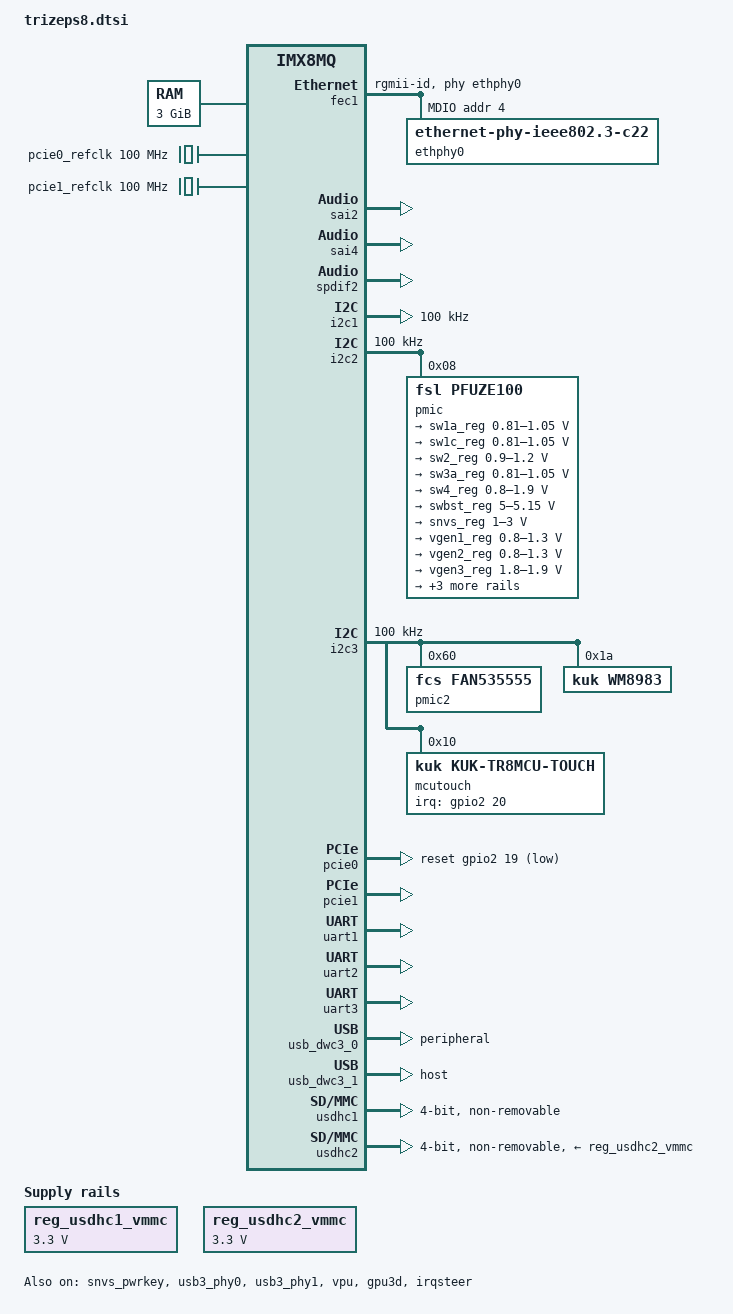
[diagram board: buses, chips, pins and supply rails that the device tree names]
/*
 * Copyright 2020 Keith & Koep GmbH
 */

#include "imx8mq.dtsi"
#include "trizeps8-pinfunc.h"

#define TRIZEPS_HOGGRP_COMMON	SPIN87_GPIO  PAD_GPIO_PU   /* nRESET_OUT  SODIMM Pin 87  */

/ {
	firmware {
		android {
			compatible = "android,firmware";
			/* default emmc node used for GSI */
			boot_devices = "soc@0/soc@0:bus@30800000/30b40000.mmc";
			/* sd card node which used if androidboot.boot_device_root=mmcblk1 */
			boot_devices_mmcblk1 = "soc@0/soc@0:bus@30800000/30b50000.mmc";
			/* emmc node which used if androidboot.boot_device_root=mmcblk0 */
			boot_devices_mmcblk0 = "soc@0/soc@0:bus@30800000/30b40000.mmc";
			fstab {
				compatible = "android,fstab";
				system {
					compatible = "android,system";
					dev = "system";
					type = "ext4";
					mnt_flags = "noatime,errors=panic,ro,barrier=1,inode_readahead_blks=8";
					fsmgr_flags = "wait,slotselect,avb,avb_keys=/avb/q-gsi.avbpubkey:/avb/r-gsi.avbpubkey:/avb/s-gsi.avbpubkey,logical,first_stage_mount";
				};
				vendor {
					compatible = "android,vendor";
					dev = "vendor";
					type = "ext4";
					mnt_flags = "noatime,errors=panic,ro,barrier=1,inode_readahead_blks=8";
					fsmgr_flags = "wait,slotselect,avb,logical,first_stage_mount";
				};
				product {
					compatible = "android,product";
					dev = "product";
					type = "ext4";
					mnt_flags = "noatime,errors=panic,ro,barrier=1,inode_readahead_blks=8";
					fsmgr_flags = "wait,slotselect,avb,logical,first_stage_mount";
				};
			};
			vbmeta {
				/*we need use FirstStageMountVBootV2 if we enable avb*/
				compatible = "android,vbmeta";
				/*parts means the partition witch can be mount in first stage*/
				parts = "vbmeta,dtbo,boot,system,vendor,product";
			};
		};
	};
};

/ {
	trusty {
		compatible = "android,trusty-smc-v1";
		ranges;
		#address-cells = <2>;
		#size-cells = <2>;
		use-gicv3-workaround;
		trusty-irq {
			use-gicv3-workaround;
			compatible = "android,trusty-irq-v1";
			interrupt-templates = <&trusty_ipi 0>;
			interrupt-ranges = < 0 15 0>;
		};
		trusty-virtio {
			compatible = "android,trusty-virtio-v1";
		};
		trusty-log {
			compatible = "android,trusty-log-v1";
		};
	};
	trusty_ipi: interrupt-controller@0 {
		compatible = "android,CustomIPI";
		interrupt-controller;
		#interrupt-cells = <1>;
	};
};

/ {

	memory@40000000 {
		device_type = "memory";
		reg = <0x00000000 0x40000000 0 0xc0000000>;
	};

	reserved-memory {
		#address-cells = <2>;
		#size-cells = <2>;
		ranges;

		rpmsg_reserved: rpmsg@0xb8000000 {
			no-map;
			reg = <0 0xb8000000 0 0x400000>;
		};
	};

	resmem: reserved-memory {
		#address-cells = <2>;
		#size-cells = <2>;
		ranges;

		/* global autoconfigured region for contiguous allocations */
		linux,cma {
			compatible = "shared-dma-pool";
			reusable;
			size = <0 0x3c000000>;
			alloc-ranges = <0 0x40000000 0 0x40000000>;
			linux,cma-default;
		};
	};

	pcie0_refclk: pcie0-refclk {
		compatible = "fixed-clock";
		#clock-cells = <0>;
		clock-frequency = <100000000>;
	};

	pcie1_refclk: pcie0-refclk {
		compatible = "fixed-clock";
		#clock-cells = <0>;
		clock-frequency = <100000000>;
	};

	reg_usdhc1_vmmc: usdhc1_vmmc {
		compatible = "regulator-fixed";
		regulator-name = "VMMC_USDHC1";
		regulator-min-microvolt = <3300000>;
		regulator-max-microvolt = <3300000>;
		enable-active-high;
	};

	reg_usdhc2_vmmc: regulator-usdhc2 {
		compatible = "regulator-fixed";
		regulator-name = "VMMC_USDHC2";
		regulator-min-microvolt = <3300000>;
		regulator-max-microvolt = <3300000>;
		enable-active-high;
	};

	sound-wm8983 {
		compatible = "kuk,imx-audio-wm8983";
		model = "wm8983-audio";
		audio-cpu = <&sai2>;
		audio-codec = <&wm8983>;
		audio-routing =
			"Headphone Jack", "HPL",
			"Headphone Jack", "HPR",
			"Headphone Jack", "OUT4",
			"Speaker", "SPKL",
			"Speaker", "SPKR",
			"LineIn Jack", "L2",
			"LineIn Jack", "R2",
			"Microphone", "LIP",
			"Microphone", "LIN",
			"Microphone", "MICBIAS";
		codec-master;
	};

	sound-hdmi {
		compatible = "fsl,imx8mq-evk-cdnhdmi",
				"fsl,imx-audio-cdnhdmi";
		model = "imx-audio-hdmi";
		audio-cpu = <&sai4>;
		protocol = <1>;
		hdmi-out;
		constraint-rate = <44100>,
				<88200>,
				<176400>,
				<32000>,
				<48000>,
				<96000>,
				<192000>;
	};

	sound-spdif {
		compatible = "fsl,imx-audio-spdif";
		model = "imx-spdif";
		spdif-controller = <&spdif1>;
		spdif-out;
		spdif-in;
	};

	sound-hdmi-arc {
		compatible = "fsl,imx-audio-spdif";
		model = "imx-hdmi-arc";
		spdif-controller = <&spdif2>;
		spdif-in;
	};    

	backlight: backlight {
		compatible = "pwm-backlight";
		pwms = <&pwm1 0 100000 0>;

		brightness-levels = < 0  1  2  3  4  5  6  7  8  9
				     10 11 12 13 14 15 16 17 18 19
				     20 21 22 23 24 25 26 27 28 29
				     30 31 32 33 34 35 36 37 38 39
				     40 41 42 43 44 45 46 47 48 49
				     50 51 52 53 54 55 56 57 58 59
				     60 61 62 63 64 65 66 67 68 69
				     70 71 72 73 74 75 76 77 78 79
				     80 81 82 83 84 85 86 87 88 89
				     90 91 92 93 94 95 96 97 98 99
				    100>;
		default-brightness-level = <80>;
		status = "disabled";
 	};
};

&A53_0 {
	cpu-supply = <&sw1a_reg>;
};

&A53_1 {
	cpu-supply = <&sw1a_reg>;
};

&A53_2 {
	cpu-supply = <&sw1a_reg>;
};

&A53_3 {
	cpu-supply = <&sw1a_reg>;
};

&fec1 {
	pinctrl-names = "default";
	pinctrl-0 = <&pinctrl_fec1>;
	phy-mode = "rgmii-id";
	phy-handle = <&ethphy0>;
	fsl,magic-packet;
	status = "okay";

	mdio {
		#address-cells = <1>;
		#size-cells = <0>;

		ethphy0: ethernet-phy@0 {
			compatible = "ethernet-phy-ieee802.3-c22";
			reg = <4>;
			at803x,eee-disabled;
			at803x,vddio-1p8v;            
#if defined(ETHERNET_ONLY_100MBIT) && (ETHERNET_ONLY_100MBIT==1)
			at803x,100MBit;
#endif              
		};
	};
};

&sai2 {
	pinctrl-names = "default";
	pinctrl-0 = <&pinctrl_sai2>;
	assigned-clocks = <&clk IMX8MQ_CLK_SAI2>;
	assigned-clock-parents = <&clk IMX8MQ_AUDIO_PLL1_OUT>;
	assigned-clock-rates = <24576000>;
	status = "okay";
};

&sai4 {
	assigned-clocks = <&clk IMX8MQ_CLK_SAI4>;
	assigned-clock-parents = <&clk IMX8MQ_AUDIO_PLL1_OUT>;
	assigned-clock-rates = <24576000>;
	clocks = <&clk IMX8MQ_CLK_SAI4_IPG>, <&clk IMX8MQ_CLK_DUMMY>,
		<&clk IMX8MQ_CLK_SAI4_ROOT>, <&clk IMX8MQ_CLK_DUMMY>,
		<&clk IMX8MQ_CLK_DUMMY>, <&clk IMX8MQ_AUDIO_PLL1_OUT>,
		<&clk IMX8MQ_AUDIO_PLL2_OUT>;
	clock-names = "bus", "mclk0", "mclk1", "mclk2", "mclk3", "pll8k", "pll11k";
	status = "okay";
};

&spdif1 {
	assigned-clocks = <&clk IMX8MQ_CLK_SPDIF1>;
	assigned-clock-parents = <&clk IMX8MQ_AUDIO_PLL1_OUT>;
	assigned-clock-rates = <24576000>;
	clocks = <&clk IMX8MQ_CLK_IPG_ROOT>, <&clk IMX8MQ_CLK_25M>,
		<&clk IMX8MQ_CLK_SPDIF1>, <&clk IMX8MQ_CLK_DUMMY>,
		<&clk IMX8MQ_CLK_DUMMY>, <&clk IMX8MQ_CLK_DUMMY>,
		<&clk IMX8MQ_CLK_IPG_ROOT>, <&clk IMX8MQ_CLK_DUMMY>,
		<&clk IMX8MQ_CLK_DUMMY>, <&clk IMX8MQ_CLK_DUMMY>,
		<&clk IMX8MQ_AUDIO_PLL1_OUT>, <&clk IMX8MQ_AUDIO_PLL2_OUT>;
	clock-names = "core", "rxtx0", "rxtx1", "rxtx2", "rxtx3", "rxtx4",
		      "rxtx5", "rxtx6", "rxtx7", "spba", "pll8k", "pll11k";
	status = "disabled";
};

&spdif2 {
	assigned-clocks = <&clk IMX8MQ_CLK_SPDIF2>;
	assigned-clock-parents = <&clk IMX8MQ_AUDIO_PLL1_OUT>;
	assigned-clock-rates = <24576000>;
	status = "okay";
};

&i2c1 {	/* Secondary I2C on SODIMM 94,96 */
	clock-frequency = <100000>;
	pinctrl-names = "default";
	pinctrl-0 = <&pinctrl_i2c1>;
	status = "okay";
};

&i2c2 {	/* Primary I2C on SODIMM 194,196 */
	clock-frequency = <100000>;
	pinctrl-names = "default";
	pinctrl-0 = <&pinctrl_i2c2>;
	status = "okay";

	pmic: pfuze100@8 {
		compatible = "fsl,pfuze100";
		reg = <0x08>;

		regulators {
			sw1a_reg: sw1ab {	/* VDD_ARM 0V9/1V0 */
				regulator-min-microvolt = <810000>;
				regulator-max-microvolt = <1050000>;
			};

			sw1c_reg: sw1c {	/* VDD_GPU 0V9/1V0 */
				regulator-min-microvolt = <810000>;
				regulator-max-microvolt = <1050000>;
			};

			sw2_reg: sw2 {	/* NVCC_DRAM 1V1 */
				regulator-min-microvolt = <900000>;
				regulator-max-microvolt = <1200000>;
				regulator-always-on;
			};

			sw3a_reg: sw3ab {	/* VDD_DRAM 0V9/1V0 */
				regulator-min-microvolt = <810000>;
				regulator-max-microvolt = <1050000>;
				regulator-always-on;
			};

			sw4_reg: sw4 { /* +1V8 LVDS,FPGA */
				regulator-min-microvolt = <800000>;
				regulator-max-microvolt = <1900000>;
				regulator-always-on;
			};

			swbst_reg: swbst {	/* +5V */
				regulator-min-microvolt = <5000000>;
				regulator-max-microvolt = <5150000>;
			};

			snvs_reg: vsnvs {	/* not connected */
				regulator-min-microvolt = <1000000>;
				regulator-max-microvolt = <3000000>;
				regulator-always-on;
			};

			vref_reg: vrefddr {
				regulator-always-on;
			};

			vgen1_reg: vgen1 {	/* VDD_FPGA_CORE +1V2, connected with vgen2 */
				regulator-min-microvolt = <800000>;
				regulator-max-microvolt = <1300000>;
			};

			vgen2_reg: vgen2 {	/* VDD_FPGA_CORE +1V2, connected with vgen1 */
				regulator-min-microvolt = <800000>;
				regulator-max-microvolt = <1300000>;
				regulator-always-on;
			};

			vgen3_reg: vgen3 {	/* VDD_PHY_1V8 */
				regulator-min-microvolt = <1800000>;
				regulator-max-microvolt = <1900000>;
				regulator-always-on;
			};

			vgen4_reg: vgen4 {	/* VDDA_1V8 */
				regulator-min-microvolt = <1800000>;
				regulator-max-microvolt = <1900000>;
				regulator-always-on;
			};

			vgen5_reg: vgen5 {	/* VDD_FPGA_MIPI */
				regulator-min-microvolt = <1800000>;
				regulator-max-microvolt = <3300000>;
				regulator-always-on;
			};

			vgen6_reg: vgen6 {	/* VDD_SD1 */
				regulator-min-microvolt = <1800000>;
				regulator-max-microvolt = <3300000>;
			};
		};
	};

};

&i2c3 {
	clock-frequency = <100000>;
	pinctrl-names = "default";
	pinctrl-0 = <&pinctrl_i2c3>;
	status = "okay";

	pmic2: fan53555@60 {	/* VDD_SOC, VDD_VPU */
		compatible = "fcs,fan535555";		
		reg = <0x60>;
		regulator-name = "fan53555";
		regulator-min-microvolt = <810000>;
		regulator-max-microvolt = <1050000>;
		fcs,suspend-voltage-selector = <1>;
	};

	wm8983: wm8983@1a {	/* Audio-Codec */
		compatible = "kuk,wm8983";
		reg = <0x1a>;
		clocks = <&clk IMX8MQ_CLK_SAI2_ROOT>;
		clock-names = "mclk";		
	};
	
	mcutouch: kuk_tr8mcu_touch@10 { /* Kinetis MCU and touch-controller */
		compatible = "kuk,kuk-tr8mcu-touch";
		reg = <0x10>;
        regulator-name = "sd_pwr";
        regulator-min-microvolt = <1800000>;
        regulator-max-microvolt = <3300000>;
		pinctrl-names = "default";
		pinctrl-0 = <&pinctrl_restouch>;
		interrupts-extended = <&gpio2 20 IRQ_TYPE_LEVEL_LOW>;	        	
		xscale              = <800>;
		yscale              = <480>;
		xmin                = <306>;
		xmax                = <3781>;
        ymin                = <692>;
        ymax                = <3459>;
        settle              = <10>;
		average             = <25>;
		yreverse            = "true" ;
        enable_touch        = "false";
		linux,wakeup;
	}; 

    sn65dsi84@2c {
		status = "disabled";
		compatible = "ti,sn65dsi84";
		reg = <0x2c>;
		enable-gpios =<lvds_en_gpio GPIO_ACTIVE_HIGH>;

		pinctrl-names = "default";
		pinctrl-0 = <&pinctrl_i2c3_sn65dsi84_en>;
	};        
};


&pcie0{
	pinctrl-names = "default";
	pinctrl-0 = <&pinctrl_pcie0>;
	disable-gpio = <&gpio3 5 GPIO_ACTIVE_LOW>;
	reset-gpio = <&gpio2 19 GPIO_ACTIVE_LOW>;
	ext_osc = <0>;
	hard-wired = <1>;
	status = "okay";
};

&pcie1 {
	pinctrl-names = "default";
	clocks = <&clk IMX8MQ_CLK_PCIE2_ROOT>,
		 <&clk IMX8MQ_CLK_PCIE2_AUX>,
		 <&clk IMX8MQ_CLK_PCIE2_PHY>,
		 <&pcie1_refclk>;
	clock-names = "pcie", "pcie_aux", "pcie_phy", "pcie_bus";
	reserved-region = <&rpmsg_reserved>;
	ext_osc = <0>;
	hard-wired = <1>;    
	status = "okay";
};

&pgc_gpu {
	power-supply = <&sw1c_reg>;
};

&pgc_vpu {
/*	power-supply = <&pmic2>; */
};

&snvs_pwrkey {
	status = "okay";
};

&uart1 { /* console */
	pinctrl-names = "default";
	pinctrl-0 = <&pinctrl_uart1>;
	assigned-clocks = <&clk IMX8MQ_CLK_UART1>;
	assigned-clock-parents = <&clk IMX8MQ_CLK_25M>;
	status = "okay";
};

&uart2 {
	pinctrl-names = "default";
	pinctrl-0 = <&pinctrl_uart2>;
	assigned-clocks = <&clk IMX8MQ_CLK_UART2>;
	assigned-clock-parents = <&clk IMX8MQ_CLK_25M>;
	status = "okay";
};

&uart3 {
	pinctrl-names = "default";
	pinctrl-0 = <&pinctrl_uart3>;
	assigned-clocks = <&clk IMX8MQ_CLK_UART3>;
	assigned-clock-parents = <&clk IMX8MQ_CLK_25M>;
	status = "okay";
};

&usb3_phy0 {
	status = "okay";
};

&usb_dwc3_0 {
	dr_mode = "peripheral";
	status = "okay";
};

&usb3_phy1 {
	status = "okay";
};

&usb_dwc3_1 {
	dr_mode = "host";
	status = "okay";
};

&usdhc1 {
	pinctrl-names = "default", "state_100mhz", "state_200mhz";
	pinctrl-0 = <&pinctrl_usdhc1>;
	pinctrl-1 = <&pinctrl_usdhc1_100mhz>;
	pinctrl-2 = <&pinctrl_usdhc1_200mhz>;
	bus-width = <4>;
	no-1-8-v;
	clock-frequency = <10000000>;
	max-frequency = <10000000>;
	non-removable;
	status = "okay";
};

&usdhc2 {
	pinctrl-names = "default", "state_100mhz", "state_200mhz";
	pinctrl-0 = <&pinctrl_usdhc2>;
	pinctrl-1 = <&pinctrl_usdhc2_100mhz>;
	pinctrl-2 = <&pinctrl_usdhc2_200mhz>;
	bus-width = <4>;
	clock-frequency = <10000000>;
	max-frequency = <10000000>;
	no-1-8-v;
	non-removable;
	vmmc-supply = <&reg_usdhc2_vmmc>;
	status = "okay";
};

&iomuxc {
	pinctrl-names = "default";

    pinctrl_fec1: fec1grp {
		fsl,pins = <
			MX8MQ_IOMUXC_ENET_MDC_ENET1_MDC		0x3
			MX8MQ_IOMUXC_ENET_MDIO_ENET1_MDIO	0x23
			MX8MQ_IOMUXC_ENET_TD3_ENET1_RGMII_TD3	0x1f
			MX8MQ_IOMUXC_ENET_TD2_ENET1_RGMII_TD2	0x1f
			MX8MQ_IOMUXC_ENET_TD1_ENET1_RGMII_TD1	0x1f
			MX8MQ_IOMUXC_ENET_TD0_ENET1_RGMII_TD0	0x1f
			MX8MQ_IOMUXC_ENET_RD3_ENET1_RGMII_RD3	0x91
			MX8MQ_IOMUXC_ENET_RD2_ENET1_RGMII_RD2	0x91
			MX8MQ_IOMUXC_ENET_RD1_ENET1_RGMII_RD1	0x91
			MX8MQ_IOMUXC_ENET_RD0_ENET1_RGMII_RD0	0x91
			MX8MQ_IOMUXC_ENET_TXC_ENET1_RGMII_TXC	0x1f
			MX8MQ_IOMUXC_ENET_RXC_ENET1_RGMII_RXC	0x91
			MX8MQ_IOMUXC_ENET_RX_CTL_ENET1_RGMII_RX_CTL	0x91
			MX8MQ_IOMUXC_ENET_TX_CTL_ENET1_RGMII_TX_CTL	0x1f
			MX8MQ_IOMUXC_GPIO1_IO09_GPIO1_IO9	0x19
		>;
	};

	pinctrl_i2c1: i2c1grp {
		fsl,pins = <
			MX8MQ_IOMUXC_I2C1_SCL_I2C1_SCL			0x4000007f
			MX8MQ_IOMUXC_I2C1_SDA_I2C1_SDA			0x4000007f
		>;
	};

	pinctrl_i2c2: i2c2grp {
		fsl,pins = <
			MX8MQ_IOMUXC_I2C2_SCL_I2C2_SCL			0x4000007f
			MX8MQ_IOMUXC_I2C2_SDA_I2C2_SDA			0x4000007f
		>;
	};
		
    pinctrl_i2c3: i2c3grp {
		fsl,pins = <
			MX8MQ_IOMUXC_I2C3_SCL_I2C3_SCL			0x4000007f
			MX8MQ_IOMUXC_I2C3_SDA_I2C3_SDA			0x4000007f
		>;
	};

	pinctrl_pcie0: pcie0grp {
		fsl,pins = <
			MX8MQ_IOMUXC_I2C4_SCL_PCIE1_CLKREQ_B	0x76 /* open drain, pull up */
			MX8MQ_IOMUXC_NAND_WE_B_GPIO3_IO17	0x16 /* PCIE1_W_DISABLE */
			MX8MQ_IOMUXC_SD2_RESET_B_GPIO2_IO19	0x16 /* PCIE1_RESET ( UART4_RXD GPIO5_28 used by NXP EVK) */
		/*	MX8MQ_IOMUXC_NAND_CE1_B_GPIO4_IO14	0x16	 PCIE1_WAKE ( NAND_DQS used by NXP EVP) */
			MX8MQ_IOMUXC_NAND_CLE_GPIO3_IO5		0x16	/* WL_POWERDOWN ( UART4_TXD GPIO5_29 used by NXP EVK) */
		>;
	};

	pinctrl_uart1: uart1grp {
		fsl,pins = <
			MX8MQ_IOMUXC_UART1_RXD_UART1_DCE_RX		0x49
			MX8MQ_IOMUXC_UART1_TXD_UART1_DCE_TX		0x49
		>;
	};

	pinctrl_uart2: uart2grp {
		fsl,pins = <
			MX8MQ_IOMUXC_UART2_RXD_UART2_DCE_RX		0x49
			MX8MQ_IOMUXC_UART2_TXD_UART2_DCE_TX		0x49
		>;
	};

	pinctrl_uart3: uart3grp {
		fsl,pins = <
			MX8MQ_IOMUXC_ECSPI1_SCLK_UART3_DCE_RX		0x49
			MX8MQ_IOMUXC_ECSPI1_MOSI_UART3_DCE_TX		0x49
		>;
	};

	pinctrl_usdhc1: usdhc1grp {
		fsl,pins = <
			MX8MQ_IOMUXC_SD1_CLK_USDHC1_CLK			0x83
			MX8MQ_IOMUXC_SD1_CMD_USDHC1_CMD			0xc3
			MX8MQ_IOMUXC_SD1_DATA0_USDHC1_DATA0		0xc3
			MX8MQ_IOMUXC_SD1_DATA1_USDHC1_DATA1		0xc3
			MX8MQ_IOMUXC_SD1_DATA2_USDHC1_DATA2		0xc3
			MX8MQ_IOMUXC_SD1_DATA3_USDHC1_DATA3		0xc3
			MX8MQ_IOMUXC_SD1_DATA4_USDHC1_DATA4		0xc3
			MX8MQ_IOMUXC_SD1_DATA5_USDHC1_DATA5		0xc3
			MX8MQ_IOMUXC_SD1_DATA6_USDHC1_DATA6		0xc3
			MX8MQ_IOMUXC_SD1_DATA7_USDHC1_DATA7		0xc3
			MX8MQ_IOMUXC_SD1_STROBE_USDHC1_STROBE		0x83
			MX8MQ_IOMUXC_SD1_RESET_B_USDHC1_RESET_B		0xc1
		>;
	};

	pinctrl_usdhc1_100mhz: usdhc1grp100mhz {
		fsl,pins = <
			MX8MQ_IOMUXC_SD1_CLK_USDHC1_CLK			0x85
			MX8MQ_IOMUXC_SD1_CMD_USDHC1_CMD			0xc5
			MX8MQ_IOMUXC_SD1_DATA0_USDHC1_DATA0		0xc5
			MX8MQ_IOMUXC_SD1_DATA1_USDHC1_DATA1		0xc5
			MX8MQ_IOMUXC_SD1_DATA2_USDHC1_DATA2		0xc5
			MX8MQ_IOMUXC_SD1_DATA3_USDHC1_DATA3		0xc5
			MX8MQ_IOMUXC_SD1_DATA4_USDHC1_DATA4		0xc5
			MX8MQ_IOMUXC_SD1_DATA5_USDHC1_DATA5		0xc5
			MX8MQ_IOMUXC_SD1_DATA6_USDHC1_DATA6		0xc5
			MX8MQ_IOMUXC_SD1_DATA7_USDHC1_DATA7		0xc5
			MX8MQ_IOMUXC_SD1_STROBE_USDHC1_STROBE		0x85
			MX8MQ_IOMUXC_SD1_RESET_B_USDHC1_RESET_B		0xc1
		>;
	};

	pinctrl_usdhc1_200mhz: usdhc1grp200mhz {
		fsl,pins = <
			MX8MQ_IOMUXC_SD1_CLK_USDHC1_CLK			0x87
			MX8MQ_IOMUXC_SD1_CMD_USDHC1_CMD			0xc7
			MX8MQ_IOMUXC_SD1_DATA0_USDHC1_DATA0		0xc7
			MX8MQ_IOMUXC_SD1_DATA1_USDHC1_DATA1		0xc7
			MX8MQ_IOMUXC_SD1_DATA2_USDHC1_DATA2		0xc7
			MX8MQ_IOMUXC_SD1_DATA3_USDHC1_DATA3		0xc7
			MX8MQ_IOMUXC_SD1_DATA4_USDHC1_DATA4		0xc7
			MX8MQ_IOMUXC_SD1_DATA5_USDHC1_DATA5		0xc7
			MX8MQ_IOMUXC_SD1_DATA6_USDHC1_DATA6		0xc7
			MX8MQ_IOMUXC_SD1_DATA7_USDHC1_DATA7		0xc7
			MX8MQ_IOMUXC_SD1_STROBE_USDHC1_STROBE		0x87
			MX8MQ_IOMUXC_SD1_RESET_B_USDHC1_RESET_B		0xc1
		>;
	};

	pinctrl_usdhc2: usdhc2grp {
		fsl,pins = <
			MX8MQ_IOMUXC_SD2_CLK_USDHC2_CLK			0x83
			MX8MQ_IOMUXC_SD2_CMD_USDHC2_CMD			0xc3
			MX8MQ_IOMUXC_SD2_DATA0_USDHC2_DATA0		0xc3
			MX8MQ_IOMUXC_SD2_DATA1_USDHC2_DATA1		0xc3
			MX8MQ_IOMUXC_SD2_DATA2_USDHC2_DATA2		0xc3
			MX8MQ_IOMUXC_SD2_DATA3_USDHC2_DATA3		0xc3
		>;
	};

	pinctrl_usdhc2_100mhz: usdhc2grp100mhz {
		fsl,pins = <
			MX8MQ_IOMUXC_SD2_CLK_USDHC2_CLK			0x85
			MX8MQ_IOMUXC_SD2_CMD_USDHC2_CMD			0xc5
			MX8MQ_IOMUXC_SD2_DATA0_USDHC2_DATA0		0xc5
    		MX8MQ_IOMUXC_SD2_DATA1_USDHC2_DATA1		0xc5
			MX8MQ_IOMUXC_SD2_DATA2_USDHC2_DATA2		0xc5
			MX8MQ_IOMUXC_SD2_DATA3_USDHC2_DATA3		0xc5
		>;
	};

	pinctrl_usdhc2_200mhz: usdhc2grp200mhz {
		fsl,pins = <
			MX8MQ_IOMUXC_SD2_CLK_USDHC2_CLK			0x87
			MX8MQ_IOMUXC_SD2_CMD_USDHC2_CMD			0xc7
			MX8MQ_IOMUXC_SD2_DATA0_USDHC2_DATA0		0xc7
			MX8MQ_IOMUXC_SD2_DATA1_USDHC2_DATA1		0xc7
			MX8MQ_IOMUXC_SD2_DATA2_USDHC2_DATA2		0xc7
			MX8MQ_IOMUXC_SD2_DATA3_USDHC2_DATA3		0xc7
		>;
	};

	pinctrl_sai2: sai2grp {
		fsl,pins = <
			MX8MQ_IOMUXC_SAI2_TXFS_SAI2_TX_SYNC	0xd6
			MX8MQ_IOMUXC_SAI2_TXC_SAI2_TX_BCLK	0xd6
			MX8MQ_IOMUXC_SAI2_MCLK_SAI2_MCLK	0xd6
			MX8MQ_IOMUXC_SAI2_TXD0_SAI2_TX_DATA0	0xd6
			MX8MQ_IOMUXC_SAI2_RXD0_SAI2_RX_DATA0	0xd6			
			MX8MQ_IOMUXC_GPIO1_IO08_GPIO1_IO8	0xd6		/* AUDIO_ENABLE */
		>;
	};
    
	pinctrl_restouch: restouchgrp {
		fsl,pins = < MCU_INT_GPIO       PAD_GPIO >; /* MCU Interrupt */
	};

	pinctrl_i2c3_sn65dsi84_en: sn65dsi84_iogrp {
		fsl,pins = < LVDS_EN_GPIO  PAD_GPIO  >; /* Myon internal LVDS Enable and external Pin0-72 */
	};
};

&vpu {
	status = "okay";
};

&gpu3d {
	status = "okay";
};

&irqsteer {
	status = "okay";
};



